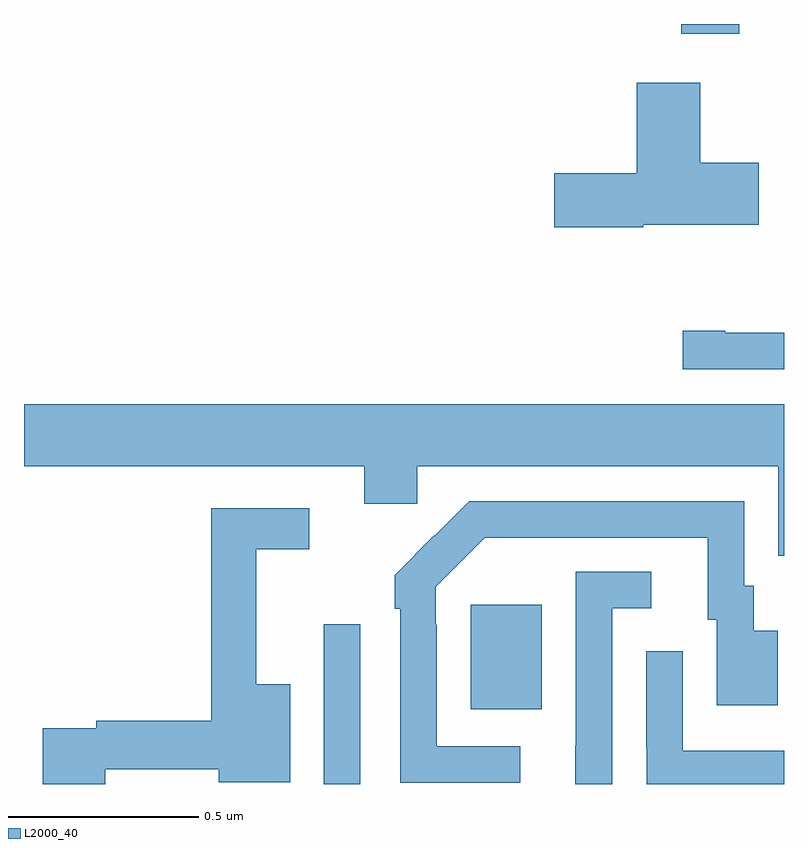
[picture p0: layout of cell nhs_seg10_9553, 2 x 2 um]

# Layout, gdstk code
import gdstk
lib = gdstk.Library(unit=1e-6, precision=1e-09)
def R(c, l, rs):  # rectangles x0, y0, x1, y1
    for r in rs: c.add(gdstk.rectangle(r[:2], r[2:], *l))
def P(c, l, *ps):  # polygons
    for p in ps: c.add(gdstk.Polygon(p, *l))
L2000_40 = (2000, 40)

nhs_seg10_9553 = lib.new_cell('nhs_seg10_9553')
R(nhs_seg10_9553, L2000_40, [(231.789,1279.5,231.885,1279.921), (232.175,1279.697,232.363,1279.972), (232.73,1281.474,232.882,1281.5)])
P(nhs_seg10_9553, L2000_40, [(232.629,1280.972),(232.933,1280.972),(232.933,1281.135),(232.78,1281.135),(232.78,1281.346),(232.613,1281.346),(232.613,1281.107),(232.395,1281.107),(232.395,1280.965),(232.629,1280.965)],
  [(233,1280.688),(232.846,1280.688),(232.846,1280.693),(232.734,1280.693),(232.734,1280.592),(233,1280.592)],
  [(233,1280.5),(231,1280.5),(231,1280.336),(231.896,1280.336),(231.896,1280.238),(232.035,1280.238),(232.035,1280.336),(232.985,1280.336),(232.985,1280.101),(233,1280.101)],
  [(232.306,1279.599),(232.086,1279.599),(232.086,1279.919),(232.083,1279.919),(232.083,1280.019),(232.212,1280.148),(232.799,1280.148),(232.799,1279.932),(232.823,1279.932),(232.823,1279.707),(232.984,1279.707),(232.984,1279.903),(232.921,1279.903),(232.921,1280.022),(232.896,1280.022),(232.896,1280.244),(232.172,1280.244),(232.081,1280.153),(232.08,1280.154),(231.975,1280.049),(231.975,1279.961),(231.99,1279.961),(231.99,1279.503),(232.306,1279.503)],
  [(231.214,1279.539),(231.512,1279.539),(231.512,1279.505),(231.7,1279.505),(231.7,1279.762),(231.611,1279.762),(231.611,1280.118),(231.751,1280.118),(231.751,1280.226),(231.493,1280.226),(231.493,1279.667),(231.19,1279.667),(231.19,1279.647),(231.049,1279.647),(231.049,1279.5),(231.214,1279.5)],
  [(232.548,1279.962),(232.651,1279.962),(232.651,1280.058),(232.452,1280.058),(232.452,1279.601),(232.451,1279.601),(232.451,1279.5),(232.548,1279.5)],
  [(233,1279.587),(232.734,1279.587),(232.734,1279.849),(232.638,1279.849),(232.638,1279.594),(232.639,1279.594),(232.639,1279.5),(233,1279.5)])

lib.write_gds('nhs_seg10_9553.gds')
